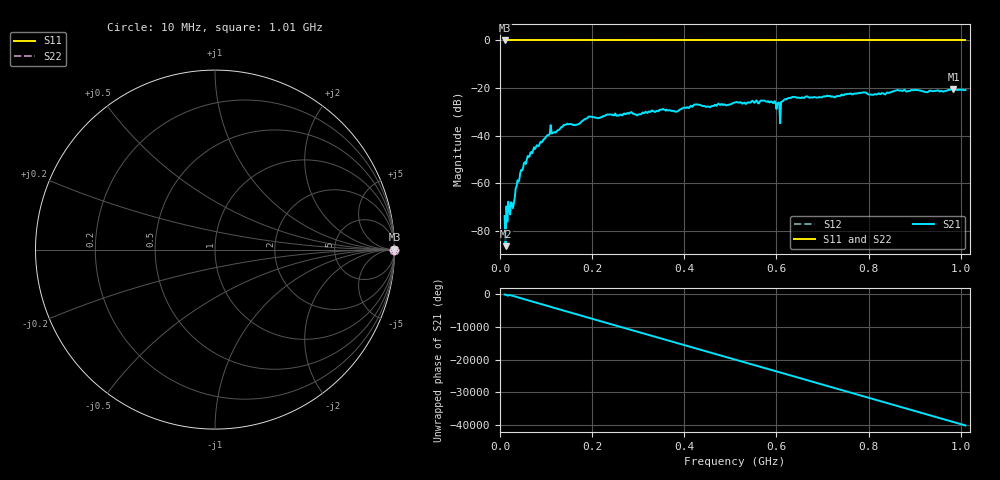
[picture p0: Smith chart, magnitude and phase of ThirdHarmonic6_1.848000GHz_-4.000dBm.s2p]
! 8/16/2025 10:21:37 PM
! C:\ANRITSUVNA\TEMP\TEMP.S2P
! CHANNEL.1
! TR.MEASUREMENT
! RAW.DATA
! RF.CORRECTION.OFF
! AVERAGING.OFF
! IF.BANDWIDTH: 5KHZ
! SWEEPTYPE:  FREQ.SWEEP(Linear)
! Reference Plane Port Info
! PORT:  PORT1  PORT2
! DISTANCE:  0  m  0  m
! TIME:  0  s  0  s
! PHASE.OFFSET:  0  deg.  0  deg.
! LOSS:  0  dB  0  dB
! REF.LOSS:  0  dB  0  dB
! REF.FREQ:  0  Hz  0  Hz
! Power Info
! POWER:  -20  dBm  -20  dBm
! EFF.POWER:  -20  dBm  -20  dBm
! SOURCE.ATTEN:  0  dB  0  dB
! TEST.ATTEN:  0  dB  0  dB
# GHZ S RI R 50.0
! FREQ.GHZ  S11RE  S11IM  S21RE  S21IM  S12RE  S12IM  S22RE  S22IM
!; PortSelection: Port_12
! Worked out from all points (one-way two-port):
!   501 points, 10 MHz to 1.01 GHz, reference 50 ohm
!   highest |S21| = -20.46 dB at 984 MHz (marker M1); lowest = -86.5 dB at 12 MHz (marker M2)
!   lowest |S11| = 0.0 dB at 10 MHz (marker M3)
!   |S11| at or under -10 dB: nowhere
!   |S22| runs from 0.0 to 0.0 dB; largest |S21 - S12| = 1.1
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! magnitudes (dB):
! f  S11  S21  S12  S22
! 10 MHz  0.0  -73.8  0.0  0.0
! 12 MHz  0.0  -86.5  0.0  0.0
! 22 MHz  0.0  -73.2  0.0  0.0
! 26 MHz  0.0  -68.4  0.0  0.0
! 48 MHz  0.0  -54.7  0.0  0.0
! 70 MHz  0.0  -47.4  0.0  0.0
! 106 MHz  0.0  -39.7  0.0  0.0
! 178 MHz  0.0  -33.9  0.0  0.0
! 196 MHz  0.0  -32.0  0.0  0.0
! 344 MHz  0.0  -29.8  0.0  0.0
! 382 MHz  0.0  -29.9  0.0  0.0
! 424 MHz  0.0  -26.9  0.0  0.0
! 510 MHz  0.0  -26.1  0.0  0.0
! 570 MHz  0.0  -25.3  0.0  0.0
! 594 MHz  0.0  -26.3  0.0  0.0
! 602 MHz  0.0  -26.5  0.0  0.0
! 604 MHz  0.0  -26.1  0.0  0.0
! 622 MHz  0.0  -24.8  0.0  0.0
! 678 MHz  0.0  -24.1  0.0  0.0
! 844 MHz  0.0  -22.1  0.0  0.0
! 984 MHz  0.0  -20.5  0.0  0.0
! 1.01 GHz  0.0  -20.8  0.0  0.0
